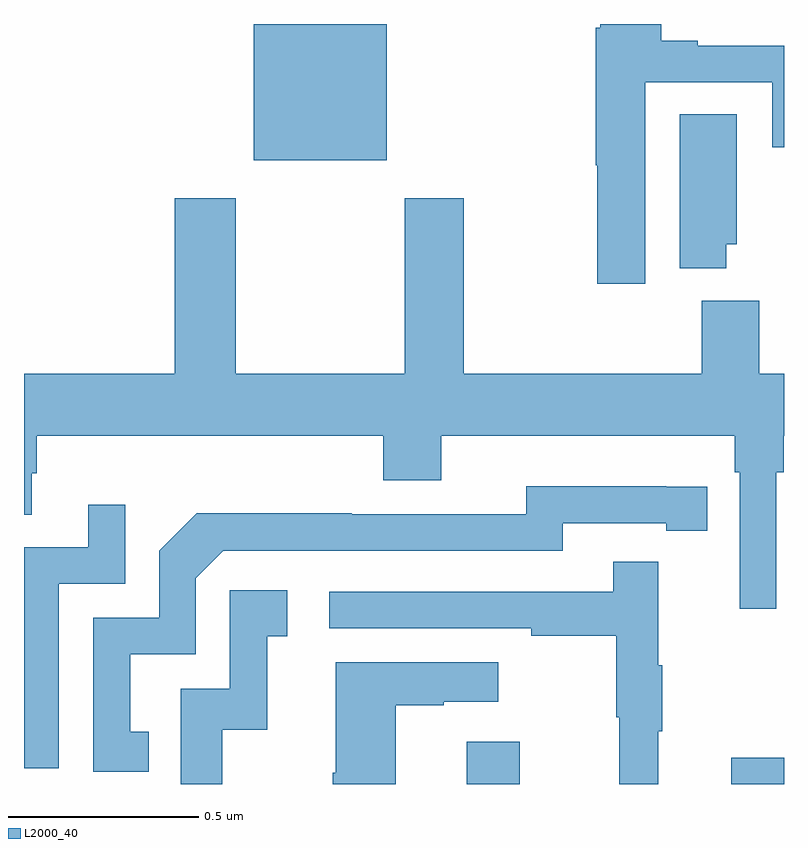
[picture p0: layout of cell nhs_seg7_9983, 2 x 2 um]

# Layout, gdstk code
import gdstk
lib = gdstk.Library(unit=1e-6, precision=1e-09)
def R(c, l, rs):  # rectangles x0, y0, x1, y1
    for r in rs: c.add(gdstk.rectangle(r[:2], r[2:], *l))
def P(c, l, *ps):  # polygons
    for p in ps: c.add(gdstk.Polygon(p, *l))
L2000_40 = (2000, 40)

nhs_seg7_9983 = lib.new_cell('nhs_seg7_9983')
R(nhs_seg7_9983, L2000_40, [(245.165,1033,245.305,1033.111), (245.861,1033,246,1033.069), (244.604,1034.642,244.954,1035)])
P(nhs_seg7_9983, L2000_40, [(245.635,1034.847),(245.969,1034.847),(245.969,1034.676),(246,1034.676),(246,1034.943),(245.773,1034.943),(245.773,1034.956),(245.677,1034.956),(245.677,1035),(245.516,1035),(245.516,1034.99),(245.504,1034.99),(245.504,1034.628),(245.509,1034.628),(245.509,1034.316),(245.635,1034.316)],
  [(245.848,1034.421),(245.875,1034.421),(245.875,1034.762),(245.726,1034.762),(245.726,1034.357),(245.848,1034.357)],
  [(245.98,1033.82),(245.999,1033.82),(245.999,1033.916),(246,1033.916),(246,1034.08),(245.935,1034.08),(245.935,1034.272),(245.783,1034.272),(245.783,1034.08),(245.157,1034.08),(245.157,1034.542),(245.002,1034.542),(245.002,1034.08),(244.557,1034.08),(244.557,1034.542),(244.397,1034.542),(244.397,1034.08),(244,1034.08),(244,1033.708),(244.021,1033.708),(244.021,1033.818),(244.034,1033.818),(244.034,1033.916),(244.946,1033.916),(244.946,1033.799),(245.098,1033.799),(245.098,1033.916),(245.87,1033.916),(245.87,1033.82),(245.883,1033.82),(245.883,1033.461),(245.98,1033.461)],
  [(244.328,1033.137),(244.279,1033.137),(244.279,1033.341),(244.452,1033.341),(244.452,1033.542),(244.524,1033.614),(245.418,1033.614),(245.418,1033.686),(245.69,1033.686),(245.69,1033.666),(245.798,1033.666),(245.798,1033.782),(245.69,1033.782),(245.69,1033.783),(245.322,1033.783),(245.322,1033.71),(244.862,1033.71),(244.862,1033.712),(244.454,1033.712),(244.356,1033.614),(244.356,1033.437),(244.182,1033.437),(244.182,1033.032),(244.328,1033.032)],
  [(244.092,1033.527),(244.266,1033.527),(244.266,1033.735),(244.169,1033.735),(244.169,1033.623),(244,1033.623),(244,1033.041),(244.092,1033.041)],
  [(245.669,1033.139),(245.68,1033.139),(245.68,1033.313),(245.669,1033.313),(245.669,1033.585),(245.551,1033.585),(245.551,1033.506),(244.803,1033.506),(244.803,1033.41),(245.335,1033.41),(245.335,1033.39),(245.559,1033.39),(245.559,1033.176),(245.566,1033.176),(245.566,1033),(245.669,1033)],
  [(244.522,1033.143),(244.64,1033.143),(244.64,1033.389),(244.693,1033.389),(244.693,1033.51),(244.542,1033.51),(244.542,1033.251),(244.413,1033.251),(244.413,1033),(244.522,1033)],
  [(244.978,1033.207),(245.105,1033.207),(245.105,1033.217),(245.248,1033.217),(245.248,1033.321),(244.82,1033.321),(244.82,1033.03),(244.813,1033.03),(244.813,1033),(244.978,1033)])

lib.write_gds('nhs_seg7_9983.gds')
